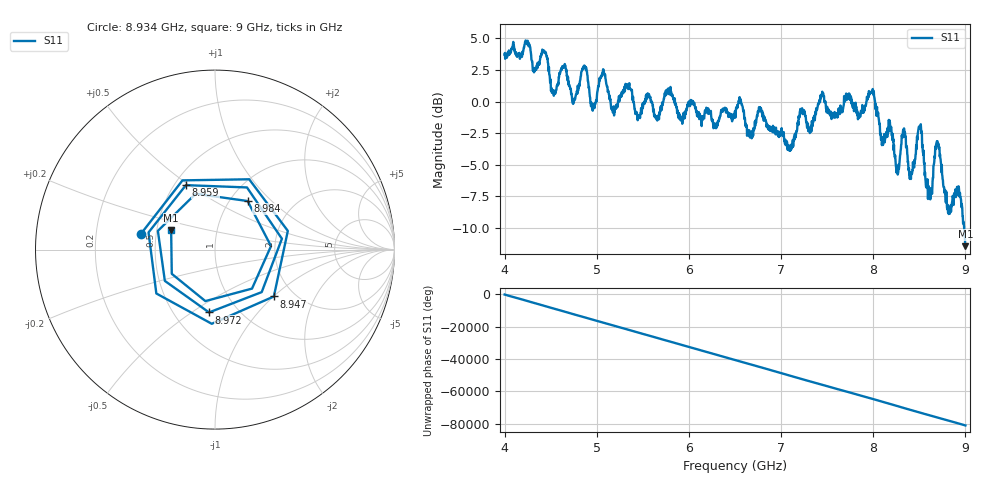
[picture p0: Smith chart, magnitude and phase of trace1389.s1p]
! Created with skrf 1.8.0 (http://scikit-rf.org).
# Hz S RI R 50.0
!freq ReS11 ImS11
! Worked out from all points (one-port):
!   1601 points, 4 GHz to 9 GHz, reference 50 ohm
!   lowest |S11| = -11.4 dB at 9 GHz (marker M1), VSWR 1.73, Z = 29.7 + j7.04 ohm
!   |S11| at or under -10 dB: 8.986911 GHz to end of sweep
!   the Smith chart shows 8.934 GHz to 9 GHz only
!   S11 on the Smith chart (normalised r, x): 8.934 GHz: 0.41, +0.09; 8.947 GHz: 1.59, -1.00; 8.959 GHz: 0.57, +0.49; 8.972 GHz: 0.74, -0.59; 8.984 GHz: 1.20, +0.73; 9 GHz: 0.59, +0.14
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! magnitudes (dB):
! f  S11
! 4 GHz  3.7
! 4.431 GHz  4.0
! 4.528 GHz  0.6
! 4.625 GHz  2.7
! 4.747 GHz  0.0
! 4.866 GHz  2.8
! 4.956 GHz  -0.7
! 5.066 GHz  2.4
! 5.25 GHz  0.4
! 5.875 GHz  -0.7
! 6.5 GHz  -0.8
! 7.125 GHz  -3.2
! 7.441 GHz  0.6
! 7.75 GHz  0.1
! 7.988 GHz  0.7
! 8.259 GHz  -5.6
! 8.328 GHz  -2.3
! 8.375 GHz  -4.8
! 8.503 GHz  -2.2
! 8.6 GHz  -6.8
! 8.697 GHz  -3.1
! 8.822 GHz  -8.4
! 8.934 GHz  -7.5
! 8.947 GHz  -7.6
! 8.959 GHz  -8.1
! 8.972 GHz  -9.1
! 8.984 GHz  -9.7
! 9 GHz  -11.4
